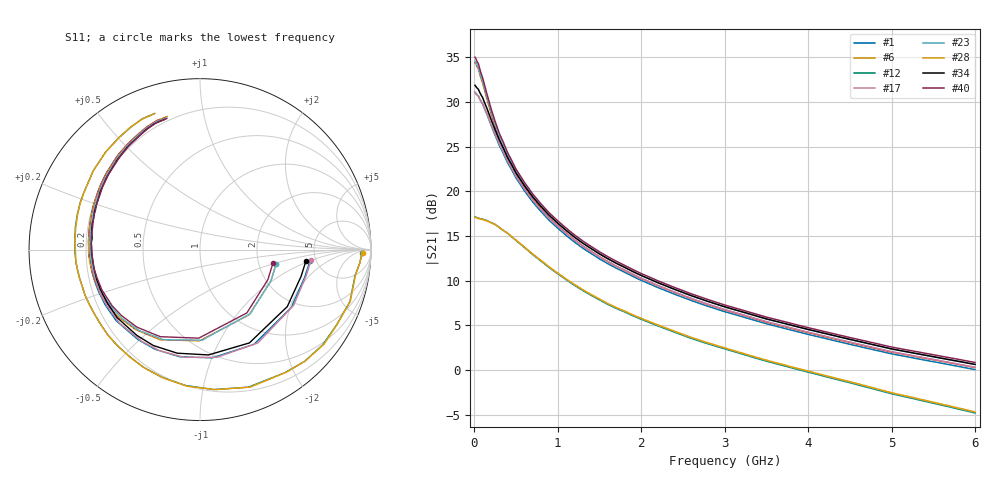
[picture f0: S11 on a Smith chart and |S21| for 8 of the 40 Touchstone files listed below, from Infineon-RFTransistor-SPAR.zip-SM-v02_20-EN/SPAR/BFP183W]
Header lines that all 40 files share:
! Infineon Technologies  Discrete & RF Semiconductors
! BFP183W
! Common Emitter S-Parameters:  Jan 2017
# GHz  S  MA  R  50
!  f  S11  S21  S12  S22
! GHz  MAG  ANG  MAG  ANG  MAG  ANG  MAG  ANG
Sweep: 10 MHz to 6 GHz
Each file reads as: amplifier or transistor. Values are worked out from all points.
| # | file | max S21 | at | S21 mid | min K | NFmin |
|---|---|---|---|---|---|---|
| 1 | BFP183W_w_noise_VCE_3.0V_IC_13mA.s2p | 31.1 dB | 10 MHz | 9.2 dB at 2.2 GHz | -0.01 | 1.01 dB |
| 2 | BFP183W_w_noise_VCE_3.0V_IC_15mA.s2p | 31.9 dB | 10 MHz | 9.3 dB at 2.2 GHz | 0.05 | 1.05 dB |
| 3 | BFP183W_w_noise_VCE_3.0V_IC_17mA.s2p | 32.6 dB | 10 MHz | 9.4 dB at 2.2 GHz | 0.03 | 1.12 dB |
| 4 | BFP183W_w_noise_VCE_3.0V_IC_20mA.s2p | 33.5 dB | 10 MHz | 9.4 dB at 2.2 GHz | 0.06 | 1.17 dB |
| 5 | BFP183W_w_noise_VCE_3.0V_IC_22mA.s2p | 34.0 dB | 10 MHz | 9.5 dB at 2.2 GHz | 0.07 | 1.22 dB |
| 6 | BFP183W_w_noise_VCE_3.0V_IC_24mA.s2p | 34.4 dB | 10 MHz | 9.4 dB at 2.2 GHz | 0.08 | 1.27 dB |
| 7 | BFP183W_w_noise_VCE_3.0V_IC_25mA.s2p | 34.6 dB | 10 MHz | 9.4 dB at 2.2 GHz | 0.05 | 1.29 dB |
| 8 | BFP183W_w_noise_VCE_3.0V_IC_28mA.s2p | 35.1 dB | 10 MHz | 9.3 dB at 2.2 GHz | 0.11 | 1.35 dB |
| 9 | BFP183W_w_noise_VCE_3.0V_IC_30mA.s2p | 35.3 dB | 10 MHz | 9.2 dB at 2.2 GHz | 0.16 | 1.39 dB |
| 10 | BFP183W_w_noise_VCE_3.0V_IC_33mA.s2p | 35.6 dB | 10 MHz | 9.0 dB at 2.2 GHz | 0.17 | 1.47 dB |
| 11 | BFP183W_w_noise_VCE_3.0V_IC_35mA.s2p | 35.8 dB | 10 MHz | 8.9 dB at 2.2 GHz | 0.19 | 1.51 dB |
| 12 | BFP183W_w_noise_VCE_4.0V_IC_2.0mA.s2p | 17.1 dB | 10 MHz | 4.9 dB at 2.2 GHz | -0.14 | 0.76 dB |
| 13 | BFP183W_w_noise_VCE_4.0V_IC_4.0mA.s2p | 22.7 dB | 10 MHz | 7.3 dB at 2.2 GHz | -0.12 | 0.73 dB |
| 14 | BFP183W_w_noise_VCE_4.0V_IC_7.0mA.s2p | 26.9 dB | 10 MHz | 8.6 dB at 2.2 GHz | 0.02 | 0.82 dB |
| 15 | BFP183W_w_noise_VCE_4.0V_IC_9.0mA.s2p | 28.7 dB | 10 MHz | 9.0 dB at 2.2 GHz | 0.00 | 0.90 dB |
| 16 | BFP183W_w_noise_VCE_4.0V_IC_10mA.s2p | 29.4 dB | 10 MHz | 9.2 dB at 2.2 GHz | 0.04 | 0.92 dB |
| 17 | BFP183W_w_noise_VCE_4.0V_IC_13mA.s2p | 31.0 dB | 10 MHz | 9.5 dB at 2.2 GHz | 0.01 | 1.01 dB |
| 18 | BFP183W_w_noise_VCE_4.0V_IC_15mA.s2p | 31.9 dB | 10 MHz | 9.6 dB at 2.2 GHz | -0.04 | 1.05 dB |
| 19 | BFP183W_w_noise_VCE_4.0V_IC_17mA.s2p | 32.6 dB | 10 MHz | 9.7 dB at 2.2 GHz | 0.07 | 1.12 dB |
| 20 | BFP183W_w_noise_VCE_4.0V_IC_20mA.s2p | 33.5 dB | 10 MHz | 9.7 dB at 2.2 GHz | 0.03 | 1.17 dB |
| 21 | BFP183W_w_noise_VCE_4.0V_IC_22mA.s2p | 34.0 dB | 10 MHz | 9.8 dB at 2.2 GHz | 0.13 | 1.22 dB |
| 22 | BFP183W_w_noise_VCE_4.0V_IC_24mA.s2p | 34.4 dB | 10 MHz | 9.8 dB at 2.2 GHz | 0.04 | 1.27 dB |
| 23 | BFP183W_w_noise_VCE_4.0V_IC_25mA.s2p | 34.6 dB | 10 MHz | 9.8 dB at 2.2 GHz | 0.04 | 1.29 dB |
| 24 | BFP183W_w_noise_VCE_4.0V_IC_28mA.s2p | 35.0 dB | 10 MHz | 9.7 dB at 2.2 GHz | 0.10 | 1.35 dB |
| 25 | BFP183W_w_noise_VCE_4.0V_IC_30mA.s2p | 35.3 dB | 10 MHz | 9.7 dB at 2.2 GHz | 0.09 | 1.39 dB |
| 26 | BFP183W_w_noise_VCE_4.0V_IC_33mA.s2p | 35.7 dB | 10 MHz | 9.6 dB at 2.2 GHz | 0.16 | 1.47 dB |
| 27 | BFP183W_w_noise_VCE_4.0V_IC_35mA.s2p | 35.9 dB | 10 MHz | 9.5 dB at 2.2 GHz | 0.14 | 1.51 dB |
| 28 | BFP183W_w_noise_VCE_5.0V_IC_2.0mA.s2p | 17.1 dB | 10 MHz | 5.0 dB at 2.2 GHz | -0.04 | 0.76 dB |
| 29 | BFP183W_w_noise_VCE_5.0V_IC_4.0mA.s2p | 22.7 dB | 10 MHz | 7.4 dB at 2.2 GHz | -0.04 | 0.73 dB |
| 30 | BFP183W_w_noise_VCE_5.0V_IC_7.0mA.s2p | 26.9 dB | 10 MHz | 8.7 dB at 2.2 GHz | -0.13 | 0.82 dB |
| 31 | BFP183W_w_noise_VCE_5.0V_IC_9.0mA.s2p | 28.6 dB | 10 MHz | 9.2 dB at 2.2 GHz | -0.04 | 0.90 dB |
| 32 | BFP183W_w_noise_VCE_5.0V_IC_10mA.s2p | 29.3 dB | 10 MHz | 9.3 dB at 2.2 GHz | 0.01 | 0.92 dB |
| 33 | BFP183W_w_noise_VCE_5.0V_IC_13mA.s2p | 31.0 dB | 10 MHz | 9.6 dB at 2.2 GHz | -0.04 | 1.01 dB |
| 34 | BFP183W_w_noise_VCE_5.0V_IC_15mA.s2p | 31.9 dB | 10 MHz | 9.8 dB at 2.2 GHz | 0.08 | 1.05 dB |
| 35 | BFP183W_w_noise_VCE_5.0V_IC_17mA.s2p | 32.6 dB | 10 MHz | 9.9 dB at 2.2 GHz | 0.09 | 1.12 dB |
| 36 | BFP183W_w_noise_VCE_5.0V_IC_20mA.s2p | 33.4 dB | 10 MHz | 9.9 dB at 2.2 GHz | 0.01 | 1.17 dB |
| 37 | BFP183W_w_noise_VCE_5.0V_IC_22mA.s2p | 33.9 dB | 10 MHz | 10.0 dB at 2.2 GHz | 0.06 | 1.22 dB |
| 38 | BFP183W_w_noise_VCE_5.0V_IC_24mA.s2p | 34.3 dB | 10 MHz | 10.0 dB at 2.2 GHz | 0.05 | 1.27 dB |
| 39 | BFP183W_w_noise_VCE_5.0V_IC_25mA.s2p | 34.5 dB | 10 MHz | 10.0 dB at 2.2 GHz | 0.13 | 1.29 dB |
| 40 | BFP183W_w_noise_VCE_5.0V_IC_28mA.s2p | 35.0 dB | 10 MHz | 10.0 dB at 2.2 GHz | 0.08 | 1.35 dB |

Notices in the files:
Hoja de datos/BFP 450/Infineon-RFTransistor-SPAR.zip-SM-v02_20-EN/SPAR/BFP183W/BFP183W_w_noise_VCE_3.0V_IC_13mA.s2p:
(c) 2017  Infineon Technologies AG, Munich
